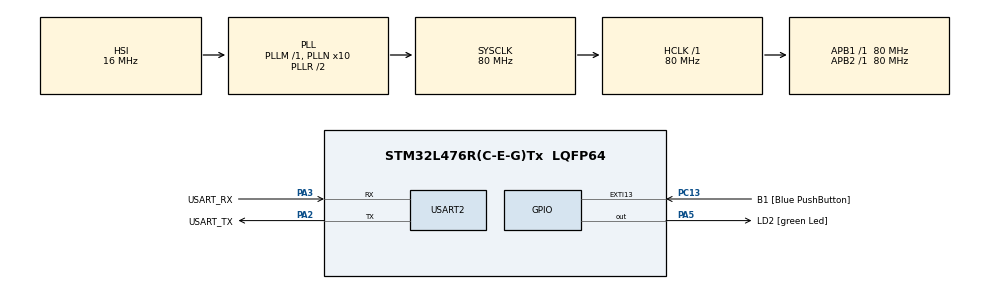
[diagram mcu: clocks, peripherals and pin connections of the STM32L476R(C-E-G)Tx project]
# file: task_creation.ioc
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FREERTOS.Tasks01=defaultTask,0,128,StartDefaultTask,Default,NULL,Dynamic,NULL,NULL
Mcu.Family=STM32L4
Mcu.Name=STM32L476R(C-E-G)Tx
Mcu.Package=LQFP64
NVIC.PriorityGroup=NVIC_PRIORITYGROUP_4
PA13\ (JTMS-SWDIO).GPIO_Label=TMS
PA13\ (JTMS-SWDIO).Mode=Serial_Wire
PA13\ (JTMS-SWDIO).Signal=SYS_JTMS-SWDIO
PA14\ (JTCK-SWCLK).GPIO_Label=TCK
PA14\ (JTCK-SWCLK).Mode=Serial_Wire
PA14\ (JTCK-SWCLK).Signal=SYS_JTCK-SWCLK
PA2.GPIO_Label=USART_TX
PA2.GPIO_Mode=GPIO_MODE_AF_PP
PA2.GPIO_PuPd=GPIO_NOPULL
PA2.GPIO_Speed=GPIO_SPEED_FREQ_VERY_HIGH
PA2.Mode=Asynchronous
PA2.Signal=USART2_TX
PA3.GPIO_Label=USART_RX
PA3.GPIO_Mode=GPIO_MODE_AF_PP
PA3.GPIO_PuPd=GPIO_NOPULL
PA3.GPIO_Speed=GPIO_SPEED_FREQ_VERY_HIGH
PA3.Mode=Asynchronous
PA3.Signal=USART2_RX
PA5.GPIO_Label=LD2 [green Led]
PA5.GPIO_ModeDefaultOutputPP=GPIO_MODE_OUTPUT_PP
PA5.GPIO_PuPd=GPIO_NOPULL
PA5.GPIO_Speed=GPIO_SPEED_FREQ_LOW
PA5.Signal=GPIO_Output
PB3\ (JTDO-TRACESWO).GPIO_Label=SWO
PB3\ (JTDO-TRACESWO).Signal=SYS_JTDO-SWO
PC13.GPIO_Label=B1 [Blue PushButton]
PC13.GPIO_ModeDefaultEXTI=GPIO_MODE_IT_FALLING
PC13.GPIO_PuPd=GPIO_NOPULL
PC13.Signal=GPXTI13
PC14-OSC32_IN\ (PC14).Mode=LSE-External-Oscillator
PC14-OSC32_IN\ (PC14).Signal=RCC_OSC32_IN
PC15-OSC32_OUT\ (PC15).Mode=LSE-External-Oscillator
PC15-OSC32_OUT\ (PC15).Signal=RCC_OSC32_OUT
PH0-OSC_IN\ (PH0).Signal=RCC_OSC_IN
PH1-OSC_OUT\ (PH1).Signal=RCC_OSC_OUT
ProjectManager.HeapSize=0x200
ProjectManager.StackSize=0x400
ProjectManager.TargetToolchain=STM32CubeIDE
RCC.ADCFreq_Value=64000000
RCC.AHBFreq_Value=80000000
RCC.APB1Freq_Value=80000000
RCC.APB1TimFreq_Value=80000000
RCC.APB2Freq_Value=80000000
RCC.APB2TimFreq_Value=80000000
RCC.CortexFreq_Value=80000000
RCC.HCLKFreq_Value=80000000
RCC.HSE_VALUE=8000000
RCC.HSI_VALUE=16000000
RCC.MSI_VALUE=4000000
RCC.PLLN=10
RCC.PLLSourceVirtual=RCC_PLLSOURCE_HSI
RCC.PREFETCH_ENABLE=1
RCC.SYSCLKFreq_VALUE=80000000
RCC.SYSCLKSource=RCC_SYSCLKSOURCE_PLLCLK
RCC.USBFreq_Value=64000000
RCC.VCOOutputFreq_Value=160000000
USART2.VirtualMode-Asynchronous=VM_ASYNC
VP_FREERTOS_VS_CMSIS_V1.Mode=CMSIS_V1
board=NUCLEO-L476RG

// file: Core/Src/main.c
/* USER CODE BEGIN Header */
/**
  ******************************************************************************
  * @file           : main.c
  * @brief          : Main program body (FreeRTOS + ITM debug printf)
  ******************************************************************************
  * @attention
  *
  * Copyright (c) 2025.
  * All rights reserved.
  *
  ******************************************************************************
  */
/* USER CODE END Header */

#include "main.h"
#include "cmsis_os.h"   // Only for FreeRTOS includes, not CMSIS tasks

/* USER CODE BEGIN Includes */
#include <stdio.h>
#include <stdarg.h>
/* USER CODE END Includes */

UART_HandleTypeDef huart2;

/* USER CODE BEGIN PV */
TaskHandle_t xTaskHandler1 = NULL;
TaskHandle_t xTaskHandler2 = NULL;
/* USER CODE END PV */

void SystemClock_Config(void);
static void MX_GPIO_Init(void);
static void MX_USART2_UART_Init(void);

/* USER CODE BEGIN PFP */
void debug_printf(const char *fmt, ...);
/* USER CODE END PFP */

/* USER CODE BEGIN 0 */

// -------------------- ITM printf implementation --------------------
void debug_printf(const char *fmt, ...)
{
    char buffer[256];
    va_list args;
    va_start(args, fmt);
    vsnprintf(buffer, sizeof(buffer), fmt, args);
    va_end(args);

    uint16_t i = 0;
    while (buffer[i] != '\0')
    {
        ITM_SendChar(buffer[i]); // Send each char to SWV ITM console
        i++;
    }
}

// -------------------- Task 1 --------------------
void vTask1_Handler(void *params)
{
    while (1)
    {
        debug_printf("Task 1 running...\r\n");
        vTaskDelay(pdMS_TO_TICKS(1000)); // 1 second delay
    }
}

// -------------------- Task 2 --------------------
void vTask2_Handler(void *params)
{
    while (1)
    {
        debug_printf("Task 2 running...\r\n");
        vTaskDelay(pdMS_TO_TICKS(1000)); // 1 second delay
    }
}
/* USER CODE END 0 */

int main(void)
{
    HAL_Init();
    SystemClock_Config();
    MX_GPIO_Init();
    MX_USART2_UART_Init();

    debug_printf("System Initialized!\r\n");

    // -------------------- Create Tasks --------------------
    BaseType_t status;

    status = xTaskCreate(vTask1_Handler, "Task-1", 200, NULL, 2, &xTaskHandler1);
    configASSERT(status == pdPASS);

    status = xTaskCreate(vTask2_Handler, "Task-2", 200, NULL, 2, &xTaskHandler2);
    configASSERT(status == pdPASS);

    debug_printf("Tasks Created. Starting Scheduler...\r\n");

    // -------------------- Start Scheduler --------------------
    vTaskStartScheduler();

    // -------------------- Should Never Reach Here --------------------
    while (1)
    {
        debug_printf("Error: Scheduler exited!\r\n");
    }
}

void SystemClock_Config(void)
{
    RCC_OscInitTypeDef RCC_OscInitStruct = {0};
    RCC_ClkInitTypeDef RCC_ClkInitStruct = {0};

    if (HAL_PWREx_ControlVoltageScaling(PWR_REGULATOR_VOLTAGE_SCALE1) != HAL_OK)
    {
        Error_Handler();
    }

    RCC_OscInitStruct.OscillatorType = RCC_OSCILLATORTYPE_HSI;
    RCC_OscInitStruct.HSIState = RCC_HSI_ON;
    RCC_OscInitStruct.HSICalibrationValue = RCC_HSICALIBRATION_DEFAULT;
    RCC_OscInitStruct.PLL.PLLState = RCC_PLL_ON;
    RCC_OscInitStruct.PLL.PLLSource = RCC_PLLSOURCE_HSI;
    RCC_OscInitStruct.PLL.PLLM = 1;
    RCC_OscInitStruct.PLL.PLLN = 10;
    RCC_OscInitStruct.PLL.PLLP = RCC_PLLP_DIV7;
    RCC_OscInitStruct.PLL.PLLQ = RCC_PLLQ_DIV2;
    RCC_OscInitStruct.PLL.PLLR = RCC_PLLR_DIV2;

    if (HAL_RCC_OscConfig(&RCC_OscInitStruct) != HAL_OK)
    {
        Error_Handler();
    }

    RCC_ClkInitStruct.ClockType = RCC_CLOCKTYPE_HCLK | RCC_CLOCKTYPE_SYSCLK |
                                  RCC_CLOCKTYPE_PCLK1 | RCC_CLOCKTYPE_PCLK2;
    RCC_ClkInitStruct.SYSCLKSource = RCC_SYSCLKSOURCE_PLLCLK;
    RCC_ClkInitStruct.AHBCLKDivider = RCC_SYSCLK_DIV1;
    RCC_ClkInitStruct.APB1CLKDivider = RCC_HCLK_DIV1;
    RCC_ClkInitStruct.APB2CLKDivider = RCC_HCLK_DIV1;

    if (HAL_RCC_ClockConfig(&RCC_ClkInitStruct, FLASH_LATENCY_4) != HAL_OK)
    {
        Error_Handler();
    }
}

static void MX_USART2_UART_Init(void)
{
    huart2.Instance = USART2;
    huart2.Init.BaudRate = 115200;
    huart2.Init.WordLength = UART_WORDLENGTH_8B;
    huart2.Init.StopBits = UART_STOPBITS_1;
    huart2.Init.Parity = UART_PARITY_NONE;
    huart2.Init.Mode = UART_MODE_TX_RX;
    huart2.Init.HwFlowCtl = UART_HWCONTROL_NONE;
    huart2.Init.OverSampling = UART_OVERSAMPLING_16;
    huart2.Init.OneBitSampling = UART_ONE_BIT_SAMPLE_DISABLE;
    huart2.AdvancedInit.AdvFeatureInit = UART_ADVFEATURE_NO_INIT;

    if (HAL_UART_Init(&huart2) != HAL_OK)
    {
        Error_Handler();
    }
}

static void MX_GPIO_Init(void)
{
    GPIO_InitTypeDef GPIO_InitStruct = {0};

    __HAL_RCC_GPIOC_CLK_ENABLE();
    __HAL_RCC_GPIOH_CLK_ENABLE();
    __HAL_RCC_GPIOA_CLK_ENABLE();
    __HAL_RCC_GPIOB_CLK_ENABLE();

    HAL_GPIO_WritePin(LD2_GPIO_Port, LD2_Pin, GPIO_PIN_RESET);

    GPIO_InitStruct.Pin = LD2_Pin;
    GPIO_InitStruct.Mode = GPIO_MODE_OUTPUT_PP;
    GPIO_InitStruct.Pull = GPIO_NOPULL;
    GPIO_InitStruct.Speed = GPIO_SPEED_FREQ_LOW;
    HAL_GPIO_Init(LD2_GPIO_Port, &GPIO_InitStruct);
}

/**
  * @brief  Error Handler
  * @retval None
  */
void Error_Handler(void)
{
    __disable_irq();
    while (1)
    {
        debug_printf("Error_Handler called!\r\n");
    }
}
